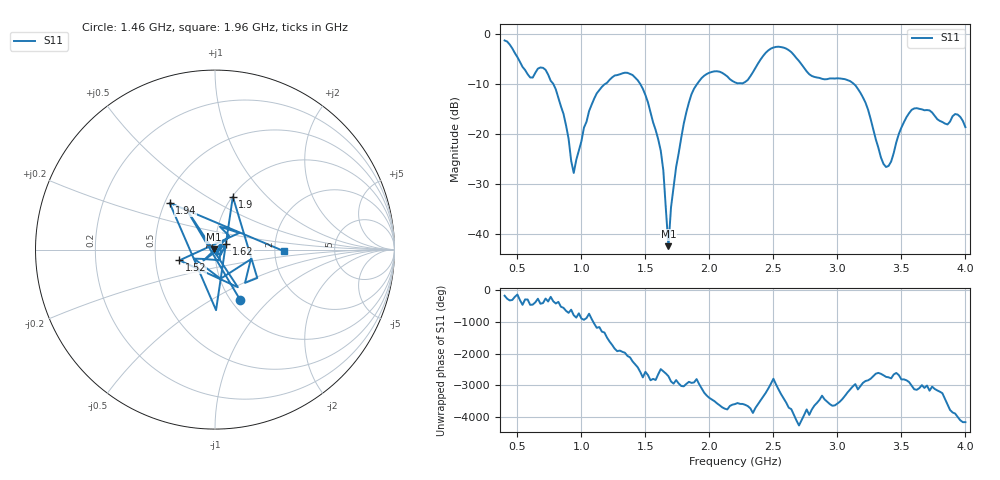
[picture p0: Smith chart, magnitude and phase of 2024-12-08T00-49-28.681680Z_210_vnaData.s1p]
!Created with skrf (http://scikit-rf.org).
# Hz S RI R 50.0
!freq ReS11 ImS11
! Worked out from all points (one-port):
!   181 points, 400 MHz to 4 GHz, reference 50 ohm
!   lowest |S11| = -42.5 dB at 1.68 GHz (marker M1), VSWR 1.02, Z = 49.3 + j0.213 ohm
!   |S11| at or under -10 dB: 780.7 MHz to 1.185 GHz (404.4 MHz wide, 41.1 % of centre); 1.46 GHz to 1.904 GHz (444.3 MHz wide, 26.4 % of centre); 3.129 GHz to end of sweep
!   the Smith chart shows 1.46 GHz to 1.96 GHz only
!   S11 on the Smith chart (normalised r, x): 1.46 GHz: 1.10, -0.69; 1.52 GHz: 0.67, -0.08; 1.62 GHz: 1.13, +0.07; 1.9 GHz: 1.01, +0.66; 1.94 GHz: 0.53, +0.32; 1.96 GHz: 2.24, -0.04
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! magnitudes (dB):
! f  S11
! 400 MHz  -1.3
! 600 MHz  -8.7
! 720 MHz  -7.2
! 860 MHz  -16.0
! 940 MHz  -27.8
! 1.1 GHz  -12.9
! 1.3 GHz  -8.1
! 1.46 GHz  -10.0
! 1.52 GHz  -13.7
! 1.62 GHz  -23.4
! 1.64 GHz  -27.3
! 1.68 GHz  -42.5
! 1.7 GHz  -34.7
! 1.76 GHz  -23.9
! 1.82 GHz  -15.6
! 1.9 GHz  -10.1
! 1.94 GHz  -8.8
! 1.96 GHz  -8.3
! 2.2 GHz  -9.7
! 2.48 GHz  -2.9
! 2.66 GHz  -4.2
! 2.8 GHz  -8.4
! 3.1 GHz  -9.4
! 3.22 GHz  -13.8
! 3.38 GHz  -26.6
! 3.56 GHz  -15.8
! 3.94 GHz  -16.1
! 4 GHz  -18.6
